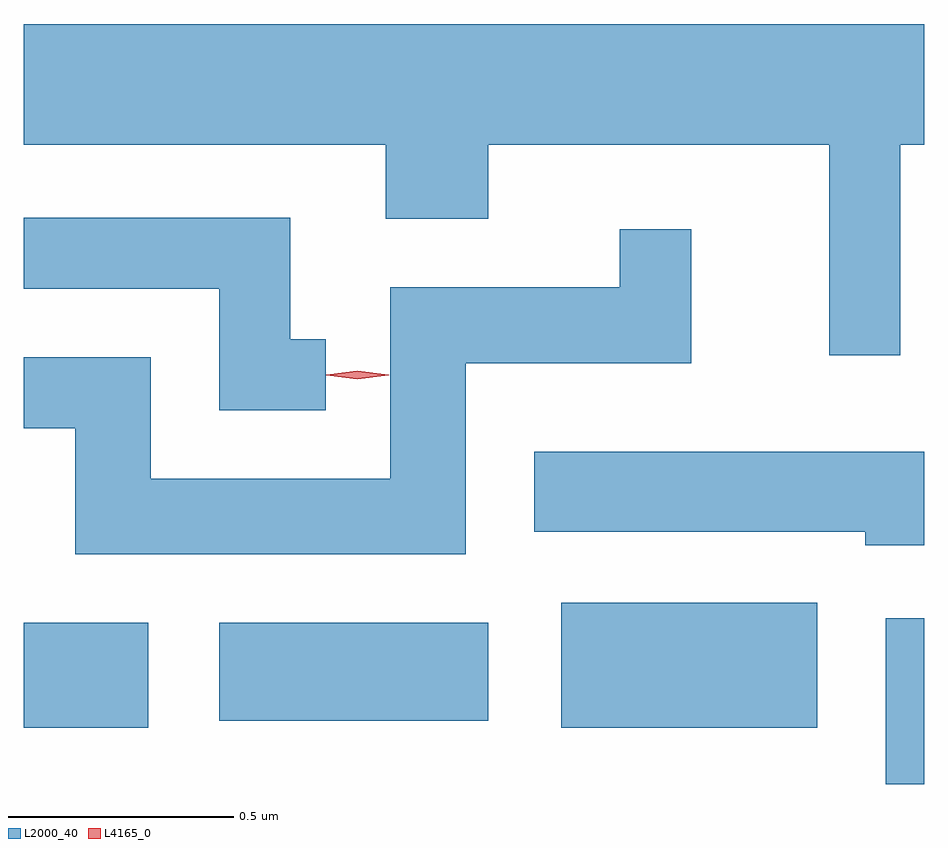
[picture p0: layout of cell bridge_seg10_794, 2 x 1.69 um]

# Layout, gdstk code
import gdstk
lib = gdstk.Library(unit=1e-6, precision=1e-09)
def R(c, l, rs):  # rectangles x0, y0, x1, y1
    for r in rs: c.add(gdstk.rectangle(r[:2], r[2:], *l))
def P(c, l, *ps):  # polygons
    for p in ps: c.add(gdstk.Polygon(p, *l))
L2000_40 = (2000, 40)
L4165_0 = (4165, 0)

bridge_seg10_794 = lib.new_cell('bridge_seg10_794')
R(bridge_seg10_794, L2000_40, [(592.341,2156.896,592.427,2157.264), (590.427,2157.021,590.704,2157.254), (591.621,2157.021,592.189,2157.299), (590.861,2157.036,591.459,2157.254)])
P(bridge_seg10_794, L2000_40, [(592.374,2158.316),(592.427,2158.316),(592.427,2158.584),(590.427,2158.584),(590.427,2158.316),(591.231,2158.316),(591.231,2158.151),(591.459,2158.151),(591.459,2158.316),(592.216,2158.316),(592.216,2157.848),(592.374,2157.848)],
  [(591.098,2157.884),(591.019,2157.884),(591.019,2158.154),(590.427,2158.154),(590.427,2157.996),(590.861,2157.996),(590.861,2157.726),(591.098,2157.726)],
  [(591.409,2157.831),(591.909,2157.831),(591.909,2158.128),(591.751,2158.128),(591.751,2157.999),(591.241,2157.999),(591.241,2157.574),(590.709,2157.574),(590.709,2157.844),(590.427,2157.844),(590.427,2157.686),(590.541,2157.686),(590.541,2157.406),(591.409,2157.406)],
  [(592.427,2157.634),(591.561,2157.634),(591.561,2157.456),(592.296,2157.456),(592.296,2157.426),(592.427,2157.426)])
P(bridge_seg10_794, L4165_0, [(591.168,2157.795),(591.099,2157.804),(591.099,2157.805),(591.099,2157.805),(591.168,2157.814),(591.238,2157.805),(591.238,2157.804),(591.238,2157.804)])

lib.write_gds('bridge_seg10_794.gds')
